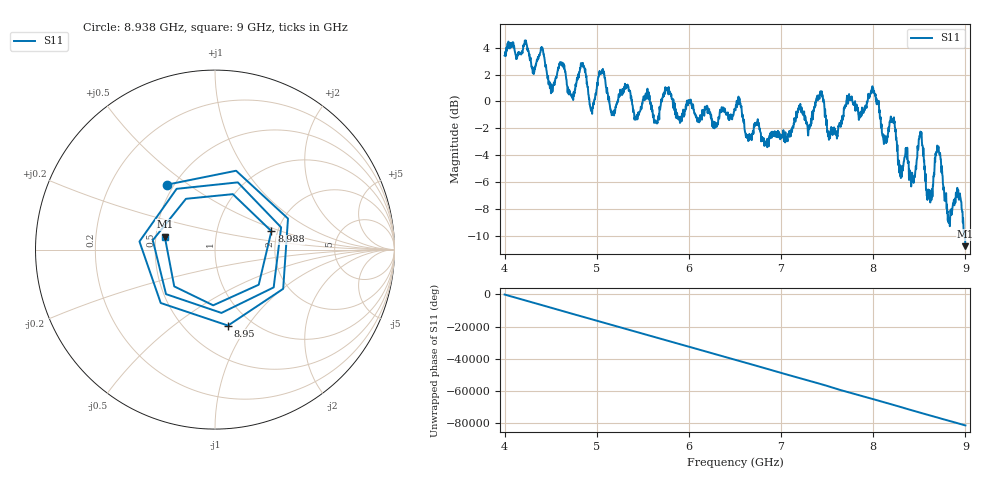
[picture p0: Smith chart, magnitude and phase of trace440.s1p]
! Created with skrf 1.8.0 (http://scikit-rf.org).
# Hz S RI R 50.0
!freq ReS11 ImS11
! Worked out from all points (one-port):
!   1601 points, 4 GHz to 9 GHz, reference 50 ohm
!   lowest |S11| = -10.8 dB at 9 GHz (marker M1), VSWR 1.81, Z = 27.9 + j4.43 ohm
!   |S11| at or under -10 dB: 8.990366 GHz to end of sweep
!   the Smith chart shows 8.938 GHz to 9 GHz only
!   S11 on the Smith chart (normalised r, x): 8.938 GHz: 0.46, +0.41; 8.95 GHz: 0.78, -0.81; 8.988 GHz: 1.85, +0.43; 9 GHz: 0.56, +0.09
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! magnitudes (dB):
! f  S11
! 4 GHz  3.4
! 4.625 GHz  2.7
! 4.734 GHz  0.2
! 4.853 GHz  2.6
! 4.944 GHz  -0.5
! 5.05 GHz  2.2
! 5.169 GHz  -1.0
! 5.25 GHz  0.4
! 5.875 GHz  -1.3
! 6.5 GHz  -0.6
! 7.125 GHz  -1.9
! 7.428 GHz  0.8
! 7.591 GHz  -2.3
! 7.75 GHz  0.1
! 8 GHz  1.0
! 8.119 GHz  -2.7
! 8.209 GHz  -1.5
! 8.294 GHz  -5.1
! 8.375 GHz  -4.6
! 8.434 GHz  -5.6
! 8.519 GHz  -2.5
! 8.619 GHz  -7.5
! 8.703 GHz  -3.6
! 8.819 GHz  -9.0
! 8.938 GHz  -6.9
! 8.95 GHz  -7.3
! 8.988 GHz  -9.6
! 9 GHz  -10.8
